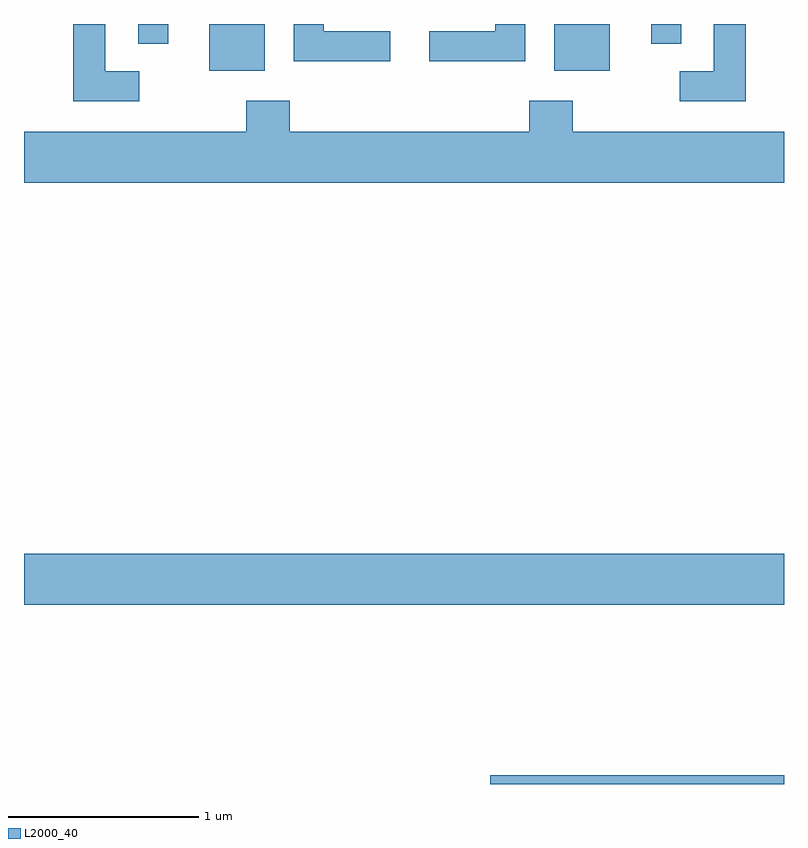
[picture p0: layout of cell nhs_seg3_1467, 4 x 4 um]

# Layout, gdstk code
import gdstk
lib = gdstk.Library(unit=1e-6, precision=1e-09)
def R(c, l, rs):  # rectangles x0, y0, x1, y1
    for r in rs: c.add(gdstk.rectangle(r[:2], r[2:], *l))
def P(c, l, *ps):  # polygons
    for p in ps: c.add(gdstk.Polygon(p, *l))
L2000_40 = (2000, 40)

nhs_seg3_1467 = lib.new_cell('nhs_seg3_1467')
R(nhs_seg3_1467, L2000_40, [(230.066,1193.892,231.611,1193.939), (227.611,1194.836,231.611,1195.104), (228.586,1197.646,228.879,1197.892), (230.401,1197.646,230.694,1197.892), (228.211,1197.788,228.369,1197.892), (230.911,1197.788,231.069,1197.892)])
P(nhs_seg3_1467, L2000_40, [(231.409,1197.892),(231.241,1197.892),(231.241,1197.644),(231.063,1197.644),(231.063,1197.486),(231.409,1197.486)],
  [(228.218,1197.644),(228.039,1197.644),(228.039,1197.892),(227.871,1197.892),(227.871,1197.486),(228.218,1197.486)],
  [(229.538,1197.854),(229.189,1197.854),(229.189,1197.892),(229.031,1197.892),(229.031,1197.696),(229.538,1197.696)],
  [(230.249,1197.892),(230.091,1197.892),(230.091,1197.854),(229.743,1197.854),(229.743,1197.696),(230.249,1197.696)],
  [(231.611,1197.324),(230.499,1197.324),(230.499,1197.489),(230.271,1197.489),(230.271,1197.324),(229.009,1197.324),(229.009,1197.489),(228.781,1197.489),(228.781,1197.324),(227.611,1197.324),(227.611,1197.056),(231.611,1197.056)])

lib.write_gds('nhs_seg3_1467.gds')
